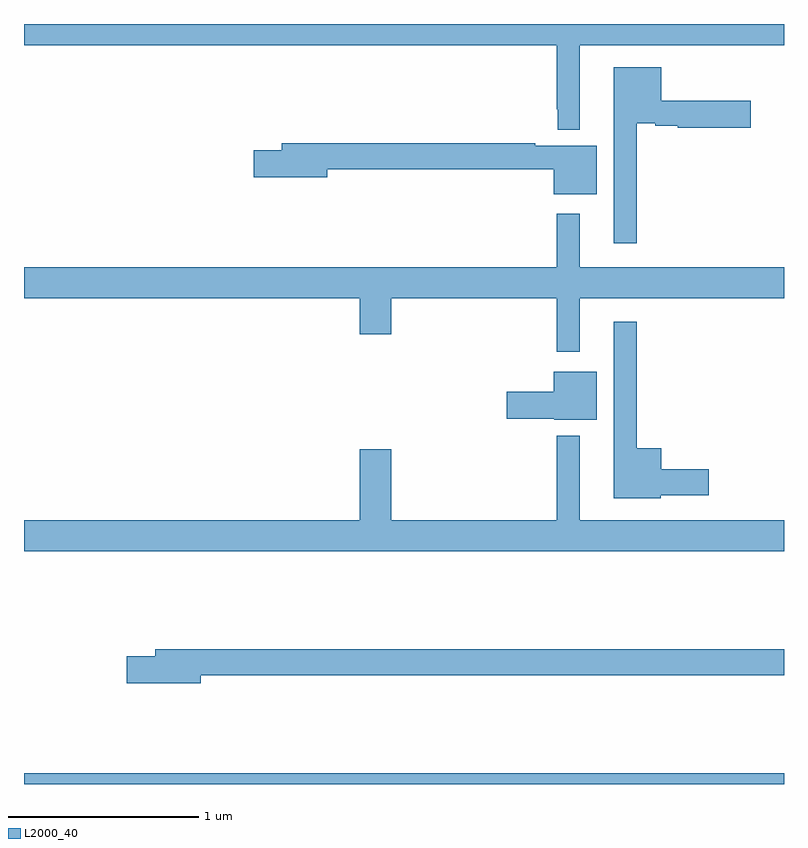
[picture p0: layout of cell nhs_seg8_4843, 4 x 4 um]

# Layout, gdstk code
import gdstk
lib = gdstk.Library(unit=1e-6, precision=1e-09)
def R(c, l, rs):  # rectangles x0, y0, x1, y1
    for r in rs: c.add(gdstk.rectangle(r[:2], r[2:], *l))
def P(c, l, *ps):  # polygons
    for p in ps: c.add(gdstk.Polygon(p, *l))
L2000_40 = (2000, 40)

nhs_seg8_4843 = lib.new_cell('nhs_seg8_4843')
R(nhs_seg8_4843, L2000_40, [(403,1157.9,407,1157.956)])
P(nhs_seg8_4843, L2000_40, [(405.925,1161.788),(407,1161.788),(407,1161.9),(403,1161.9),(403,1161.788),(405.804,1161.788),(405.804,1161.451),(405.81,1161.451),(405.81,1161.344),(405.925,1161.344)],
  [(406.225,1161.377),(406.322,1161.377),(406.322,1161.365),(406.44,1161.365),(406.44,1161.353),(406.825,1161.353),(406.825,1161.495),(406.354,1161.495),(406.354,1161.673),(406.103,1161.673),(406.103,1160.745),(406.225,1160.745)],
  [(406.015,1161.259),(405.692,1161.259),(405.692,1161.272),(404.357,1161.272),(404.357,1161.236),(404.208,1161.236),(404.208,1161.094),(404.596,1161.094),(404.596,1161.136),(405.788,1161.136),(405.788,1161.005),(406.015,1161.005)],
  [(405.925,1160.456),(407,1160.456),(407,1160.62),(405.925,1160.62),(405.925,1160.902),(405.804,1160.902),(405.804,1160.62),(403,1160.62),(403,1160.456),(404.768,1160.456),(404.768,1160.268),(404.932,1160.268),(404.932,1160.456),(405.804,1160.456),(405.804,1160.175),(405.925,1160.175)],
  [(406.35,1159.421),(406.603,1159.421),(406.603,1159.556),(406.354,1159.556),(406.354,1159.666),(406.225,1159.666),(406.225,1160.332),(406.103,1160.332),(406.103,1159.403),(406.35,1159.403)],
  [(406.015,1160.071),(405.788,1160.071),(405.788,1159.965),(405.54,1159.965),(405.54,1159.823),(405.792,1159.823),(405.792,1159.817),(406.015,1159.817)],
  [(407,1159.288),(405.925,1159.288),(405.925,1159.732),(405.804,1159.732),(405.804,1159.288),(404.932,1159.288),(404.932,1159.663),(404.768,1159.663),(404.768,1159.288),(403,1159.288),(403,1159.124),(407,1159.124)],
  [(403.93,1158.472),(407,1158.472),(407,1158.608),(403.691,1158.608),(403.691,1158.572),(403.542,1158.572),(403.542,1158.43),(403.93,1158.43)])

lib.write_gds('nhs_seg8_4843.gds')
